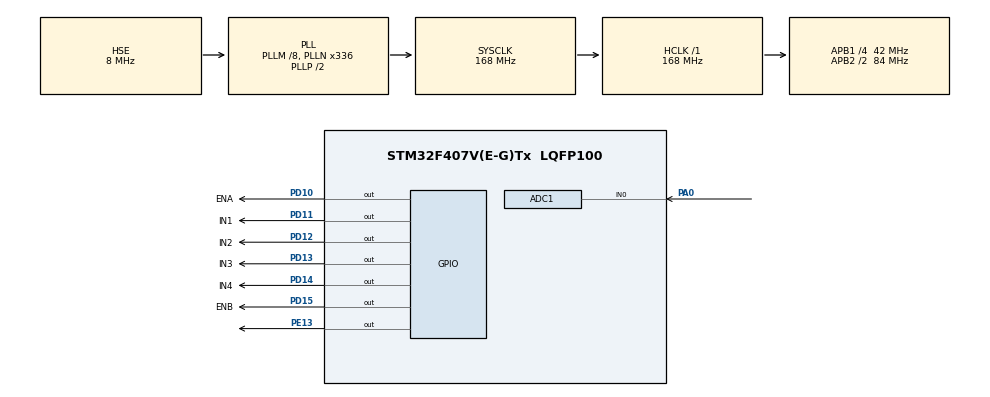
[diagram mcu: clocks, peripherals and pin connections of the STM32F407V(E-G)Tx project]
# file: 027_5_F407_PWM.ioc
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ADC1.Channel-0\#ChannelRegularConversion=ADC_CHANNEL_0
ADC1.DiscontinuousConvMode=ENABLE
ADC1.NbrOfConversion=1
ADC1.NbrOfConversionFlag=1
ADC1.Rank-0\#ChannelRegularConversion=1
ADC1.SamplingTime-0\#ChannelRegularConversion=ADC_SAMPLETIME_56CYCLES
ADC1.ScanConvMode=ENABLE
ADC1.master=1
Mcu.Family=STM32F4
Mcu.Name=STM32F407V(E-G)Tx
Mcu.Package=LQFP100
NVIC.PriorityGroup=NVIC_PRIORITYGROUP_0
PA0-WKUP.Signal=ADCx_IN0
PD10.GPIO_Label=ENA
PD10.Signal=GPIO_Output
PD11.GPIO_Label=IN1
PD11.Signal=GPIO_Output
PD12.GPIO_Label=IN2
PD12.Signal=GPIO_Output
PD13.GPIO_Label=IN3
PD13.Signal=GPIO_Output
PD14.GPIO_Label=IN4
PD14.Signal=GPIO_Output
PD15.GPIO_Label=ENB
PD15.Signal=GPIO_Output
PE13.Signal=GPIO_Output
PH0-OSC_IN.Mode=HSE-External-Oscillator
PH0-OSC_IN.Signal=RCC_OSC_IN
PH1-OSC_OUT.Mode=HSE-External-Oscillator
PH1-OSC_OUT.Signal=RCC_OSC_OUT
ProjectManager.HeapSize=0x200
ProjectManager.StackSize=0x400
ProjectManager.TargetToolchain=STM32CubeIDE
RCC.48MHZClocksFreq_Value=48000000
RCC.AHBFreq_Value=168000000
RCC.APB1CLKDivider=RCC_HCLK_DIV4
RCC.APB1Freq_Value=42000000
RCC.APB1TimFreq_Value=84000000
RCC.APB2CLKDivider=RCC_HCLK_DIV2
RCC.APB2Freq_Value=84000000
RCC.APB2TimFreq_Value=168000000
RCC.CortexFreq_Value=168000000
RCC.HCLKFreq_Value=168000000
RCC.HSE_VALUE=8000000
RCC.HSI_VALUE=16000000
RCC.LSE_VALUE=32768
RCC.PLLM=8
RCC.PLLN=336
RCC.PLLQ=7
RCC.PLLSourceVirtual=RCC_PLLSOURCE_HSE
RCC.SYSCLKFreq_VALUE=168000000
RCC.SYSCLKSource=RCC_SYSCLKSOURCE_PLLCLK
RCC.VCOOutputFreq_Value=336000000
SH.ADCx_IN0.0=ADC1_IN0,IN0
TIM1.Prescaler=167
VP_TIM1_VS_ClockSourceINT.Mode=Internal
board=STM32F407G-DISC1

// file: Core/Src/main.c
/* USER CODE BEGIN Header */
/**
  ******************************************************************************
  * @file           : main.c
  * @brief          : Main program body
  ******************************************************************************
  * @attention
  *
  * Copyright (c) 2023 STMicroelectronics.
  * All rights reserved.
  *
  * This software is licensed under terms that can be found in the LICENSE file
  * in the root directory of this software component.
  * If no LICENSE file comes with this software, it is provided AS-IS.
  *
  ******************************************************************************
  */
/* USER CODE END Header */
#include "main.h"

ADC_HandleTypeDef hadc1;

TIM_HandleTypeDef htim1;

/* USER CODE BEGIN PV */

//bir adc değeri 14 us olacak

int ms = 0;
uint16_t adc_value1;
int ileri = 0;

/* USER CODE END PV */

void SystemClock_Config(void);
static void MX_GPIO_Init(void);
static void MX_TIM1_Init(void);
static void MX_ADC1_Init(void);

/* USER CODE BEGIN 0 */

void Read_ADC()
{
	HAL_ADC_Start(&hadc1);
	if(HAL_ADC_PollForConversion(&hadc1,100000) == HAL_OK)
		adc_value1 = HAL_ADC_GetValue(&hadc1);

	HAL_ADC_Stop(&hadc1);
}

/* USER CODE END 0 */

int main(void)
{

  /* MCU Configuration--------------------------------------------------------*/

  /* Reset of all peripherals, Initializes the Flash interface and the Systick. */
  HAL_Init();

  /* Configure the system clock */
  SystemClock_Config();

  /* Initialize all configured peripherals */
  MX_GPIO_Init();
  MX_TIM1_Init();
  MX_ADC1_Init();
  /* USER CODE BEGIN 2 */
  HAL_TIM_Base_Start(&htim1);

  /* USER CODE END 2 */

  /* Infinite loop */
  while (1)
  {

    /* USER CODE BEGIN 3 */
/*
	  //Bu kısım Geri yönde hareket etmesi için gerekli
	  HAL_Delay(300);
	  HAL_GPIO_WritePin(GPIOD, GPIO_PIN_10, SET);
	  HAL_GPIO_WritePin(GPIOD, GPIO_PIN_11, SET);
	  HAL_GPIO_WritePin(GPIOD, GPIO_PIN_12, RESET);
	  HAL_Delay(300);
	  HAL_GPIO_WritePin(GPIOD, GPIO_PIN_10, RESET);
	  HAL_Delay(300);
	  HAL_GPIO_WritePin(GPIOD, GPIO_PIN_10, SET);
	  HAL_GPIO_WritePin(GPIOD, GPIO_PIN_11, SET);
	  HAL_GPIO_WritePin(GPIOD, GPIO_PIN_12, RESET);
	  HAL_Delay(300);
	  HAL_GPIO_WritePin(GPIOD, GPIO_PIN_10, RESET);
	  HAL_Delay(20);

	  Read_ADC();
	  //  Yukarıdaki kod bittikten sonra 2ms ileri 2.5ms geri olacak şekilde sonrasında bunların peroyotları 500 ms artacak
	  //  �?ekilde devam eder 1ms=1000us

	  ileri = 30000;
	  int geri = ileri+500;

	  for(int i=0; i<20; i++)//bu sinyal süreleri 0.5 ms artırmak için bu for döngüsü oluşturuldu.
	  {
		  //İlk 2 ms lik ileri sinyali
		  //HAL_Delay(100);
		  HAL_GPIO_WritePin(GPIOD, GPIO_PIN_15, SET);
		  HAL_GPIO_WritePin(GPIOD, GPIO_PIN_13, RESET);
		  HAL_GPIO_WritePin(GPIOD, GPIO_PIN_14, SET);
		  delay_us(ileri);
		  HAL_Delay(5000);
		  HAL_GPIO_WritePin(GPIOD, GPIO_PIN_15, RESET);
		  HAL_Delay(2);
		  //İLK 2.5 ms lik geri sinyali
		  HAL_GPIO_WritePin(GPIOD, GPIO_PIN_10, SET);
		  HAL_GPIO_WritePin(GPIOD, GPIO_PIN_11, RESET);
		  HAL_GPIO_WritePin(GPIOD, GPIO_PIN_12, SET);
		  delay_us(geri);
		  HAL_GPIO_WritePin(GPIOD, GPIO_PIN_10, RESET);

//		  if(i<11)
//		  {
//			  HAL_Delay(100);
//		  }

			  ileri=ileri+500;
			  geri= ileri+500;

	  }
	  HAL_Delay(2000);

	  */

	  //Bu kısım Geri yönde hareket etmesi için gerekli
	  HAL_Delay(300);
	  HAL_GPIO_WritePin(GPIOD, GPIO_PIN_12, SET);
	  HAL_Delay(300);
	  HAL_GPIO_WritePin(GPIOD, GPIO_PIN_12, RESET);
	  HAL_Delay(300);
	  HAL_GPIO_WritePin(GPIOD, GPIO_PIN_12, SET);
	  HAL_Delay(300);
	  HAL_GPIO_WritePin(GPIOD, GPIO_PIN_12, RESET);
	  HAL_Delay(20);

	  Read_ADC();
	  //  Yukarıdaki kod bittikten sonra 2ms ileri 2.5ms geri olacak şekilde sonrasında bunların peroyotları 500 ms artacak
	  //  �?ekilde devam eder 1ms=1000us

	  ileri = 500;
	  int geri = ileri+500;
	  for(int i=0; i<200; i++)//bu sinyal süreleri 0.5 ms artırmak için bu for döngüsü oluşturuldu.
	  {
		  //İlk 2 ms lik ileri sinyali
		  //HAL_Delay(100);
		  HAL_GPIO_WritePin(GPIOD, GPIO_PIN_13, SET);
		  delay_us(900);
		  //HAL_Delay(14);
		  HAL_GPIO_WritePin(GPIOD, GPIO_PIN_13, RESET);
		  delay_us(100);
		 // HAL_Delay(2);
		  //İLK 2.5 ms lik geri sinyali
		//  HAL_GPIO_WritePin(GPIOD, GPIO_PIN_12, SET);
		  //delay_us(geri);
		  HAL_Delay(14);
		//  HAL_GPIO_WritePin(GPIOD, GPIO_PIN_12, RESET);

//		  if(i<11)
//		  {
//			  HAL_Delay(100);
//		  }

	//		  ileri=ileri+500;
	//		  geri= ileri+500;

	  }
	  HAL_Delay(2000);

  }
  /* USER CODE END 3 */
}

void SystemClock_Config(void)
{
  RCC_OscInitTypeDef RCC_OscInitStruct = {0};
  RCC_ClkInitTypeDef RCC_ClkInitStruct = {0};

  /** Configure the main internal regulator output voltage
  */
  __HAL_RCC_PWR_CLK_ENABLE();
  __HAL_PWR_VOLTAGESCALING_CONFIG(PWR_REGULATOR_VOLTAGE_SCALE1);

  /** Initializes the RCC Oscillators according to the specified parameters
  * in the RCC_OscInitTypeDef structure.
  */
  RCC_OscInitStruct.OscillatorType = RCC_OSCILLATORTYPE_HSE;
  RCC_OscInitStruct.HSEState = RCC_HSE_ON;
  RCC_OscInitStruct.PLL.PLLState = RCC_PLL_ON;
  RCC_OscInitStruct.PLL.PLLSource = RCC_PLLSOURCE_HSE;
  RCC_OscInitStruct.PLL.PLLM = 8;
  RCC_OscInitStruct.PLL.PLLN = 336;
  RCC_OscInitStruct.PLL.PLLP = RCC_PLLP_DIV2;
  RCC_OscInitStruct.PLL.PLLQ = 7;
  if (HAL_RCC_OscConfig(&RCC_OscInitStruct) != HAL_OK)
  {
    Error_Handler();
  }

  /** Initializes the CPU, AHB and APB buses clocks
  */
  RCC_ClkInitStruct.ClockType = RCC_CLOCKTYPE_HCLK|RCC_CLOCKTYPE_SYSCLK
                              |RCC_CLOCKTYPE_PCLK1|RCC_CLOCKTYPE_PCLK2;
  RCC_ClkInitStruct.SYSCLKSource = RCC_SYSCLKSOURCE_PLLCLK;
  RCC_ClkInitStruct.AHBCLKDivider = RCC_SYSCLK_DIV1;
  RCC_ClkInitStruct.APB1CLKDivider = RCC_HCLK_DIV4;
  RCC_ClkInitStruct.APB2CLKDivider = RCC_HCLK_DIV2;

  if (HAL_RCC_ClockConfig(&RCC_ClkInitStruct, FLASH_LATENCY_5) != HAL_OK)
  {
    Error_Handler();
  }
}

static void MX_ADC1_Init(void)
{

  ADC_ChannelConfTypeDef sConfig = {0};

  /** Configure the global features of the ADC (Clock, Resolution, Data Alignment and number of conversion)
  */
  hadc1.Instance = ADC1;
  hadc1.Init.ClockPrescaler = ADC_CLOCK_SYNC_PCLK_DIV4;
  hadc1.Init.Resolution = ADC_RESOLUTION_12B;
  hadc1.Init.ScanConvMode = ENABLE;
  hadc1.Init.ContinuousConvMode = DISABLE;
  hadc1.Init.DiscontinuousConvMode = ENABLE;
  hadc1.Init.NbrOfDiscConversion = 1;
  hadc1.Init.ExternalTrigConvEdge = ADC_EXTERNALTRIGCONVEDGE_NONE;
  hadc1.Init.ExternalTrigConv = ADC_SOFTWARE_START;
  hadc1.Init.DataAlign = ADC_DATAALIGN_RIGHT;
  hadc1.Init.NbrOfConversion = 1;
  hadc1.Init.DMAContinuousRequests = DISABLE;
  hadc1.Init.EOCSelection = ADC_EOC_SINGLE_CONV;
  if (HAL_ADC_Init(&hadc1) != HAL_OK)
  {
    Error_Handler();
  }

  /** Configure for the selected ADC regular channel its corresponding rank in the sequencer and its sample time.
  */
  sConfig.Channel = ADC_CHANNEL_0;
  sConfig.Rank = 1;
  sConfig.SamplingTime = ADC_SAMPLETIME_56CYCLES;
  if (HAL_ADC_ConfigChannel(&hadc1, &sConfig) != HAL_OK)
  {
    Error_Handler();
  }

}

static void MX_TIM1_Init(void)
{

  TIM_ClockConfigTypeDef sClockSourceConfig = {0};
  TIM_MasterConfigTypeDef sMasterConfig = {0};

  htim1.Instance = TIM1;
  htim1.Init.Prescaler = 167;
  htim1.Init.CounterMode = TIM_COUNTERMODE_UP;
  htim1.Init.Period = 65535;
  htim1.Init.ClockDivision = TIM_CLOCKDIVISION_DIV1;
  htim1.Init.RepetitionCounter = 0;
  htim1.Init.AutoReloadPreload = TIM_AUTORELOAD_PRELOAD_DISABLE;
  if (HAL_TIM_Base_Init(&htim1) != HAL_OK)
  {
    Error_Handler();
  }
  sClockSourceConfig.ClockSource = TIM_CLOCKSOURCE_INTERNAL;
  if (HAL_TIM_ConfigClockSource(&htim1, &sClockSourceConfig) != HAL_OK)
  {
    Error_Handler();
  }
  sMasterConfig.MasterOutputTrigger = TIM_TRGO_RESET;
  sMasterConfig.MasterSlaveMode = TIM_MASTERSLAVEMODE_DISABLE;
  if (HAL_TIMEx_MasterConfigSynchronization(&htim1, &sMasterConfig) != HAL_OK)
  {
    Error_Handler();
  }

}

static void MX_GPIO_Init(void)
{
  GPIO_InitTypeDef GPIO_InitStruct = {0};

  /* GPIO Ports Clock Enable */
  __HAL_RCC_GPIOH_CLK_ENABLE();
  __HAL_RCC_GPIOA_CLK_ENABLE();
  __HAL_RCC_GPIOE_CLK_ENABLE();
  __HAL_RCC_GPIOD_CLK_ENABLE();

  /*Configure GPIO pin Output Level */
  HAL_GPIO_WritePin(GPIOE, GPIO_PIN_13, GPIO_PIN_RESET);

  /*Configure GPIO pin Output Level */
  HAL_GPIO_WritePin(GPIOD, ENA_Pin|IN1_Pin|IN2_Pin|IN3_Pin
                          |IN4_Pin|ENB_Pin, GPIO_PIN_RESET);

  /*Configure GPIO pin : PE13 */
  GPIO_InitStruct.Pin = GPIO_PIN_13;
  GPIO_InitStruct.Mode = GPIO_MODE_OUTPUT_PP;
  GPIO_InitStruct.Pull = GPIO_NOPULL;
  GPIO_InitStruct.Speed = GPIO_SPEED_FREQ_LOW;
  HAL_GPIO_Init(GPIOE, &GPIO_InitStruct);

  /*Configure GPIO pins : ENA_Pin IN1_Pin IN2_Pin IN3_Pin
                           IN4_Pin ENB_Pin */
  GPIO_InitStruct.Pin = ENA_Pin|IN1_Pin|IN2_Pin|IN3_Pin
                          |IN4_Pin|ENB_Pin;
  GPIO_InitStruct.Mode = GPIO_MODE_OUTPUT_PP;
  GPIO_InitStruct.Pull = GPIO_NOPULL;
  GPIO_InitStruct.Speed = GPIO_SPEED_FREQ_LOW;
  HAL_GPIO_Init(GPIOD, &GPIO_InitStruct);

}

/* USER CODE BEGIN 4 */
void delay_us (uint16_t us)
{
	__HAL_TIM_SET_COUNTER(&htim1, 0);
	while (__HAL_TIM_GET_COUNTER(&htim1) < us);
}

/* USER CODE END 4 */

void Error_Handler(void)
{
  __disable_irq();
  while (1)
  {
  }
}
